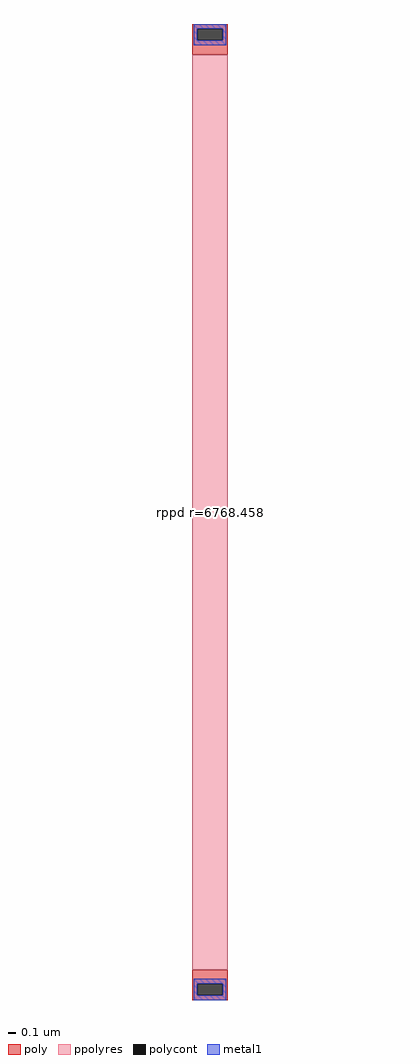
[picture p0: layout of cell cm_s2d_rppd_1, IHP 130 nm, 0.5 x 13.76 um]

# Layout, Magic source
magic
tech ihp-sg13cmos5l
<< poly >>
rect 0 1326 50 1333
rect 0 1310 7 1326
rect 43 1310 50 1326
rect 0 1290 50 1310
rect 0 -20 50 0
rect 0 -36 7 -20
rect 43 -36 50 -20
rect 0 -43 50 -36
<< polycont >>
rect 7 1310 43 1326
rect 7 -36 43 -20
<< ppolyres >>
rect 0 0 50 1290
<< metal1 >>
rect 2 1326 48 1333
rect 2 1310 7 1326
rect 43 1310 48 1326
rect 2 1303 48 1310
rect 2 -20 48 -13
rect 2 -36 7 -20
rect 43 -36 48 -20
rect 2 -43 48 -36
<< labels >>
flabel comment s 25 645 25 645 0 FreeSans 100 90 0 0 rppd r=6768.458
<< properties >>
string GDS_END 868546
string GDS_FILE custom_io/gds/sg13cmos5l_IOPadSingle2Diff.uniq.gds
string GDS_START 867174
string MASKHINTS_CONTBAR 7 1310 43 1326 7 -36 43 -20
<< end >>
